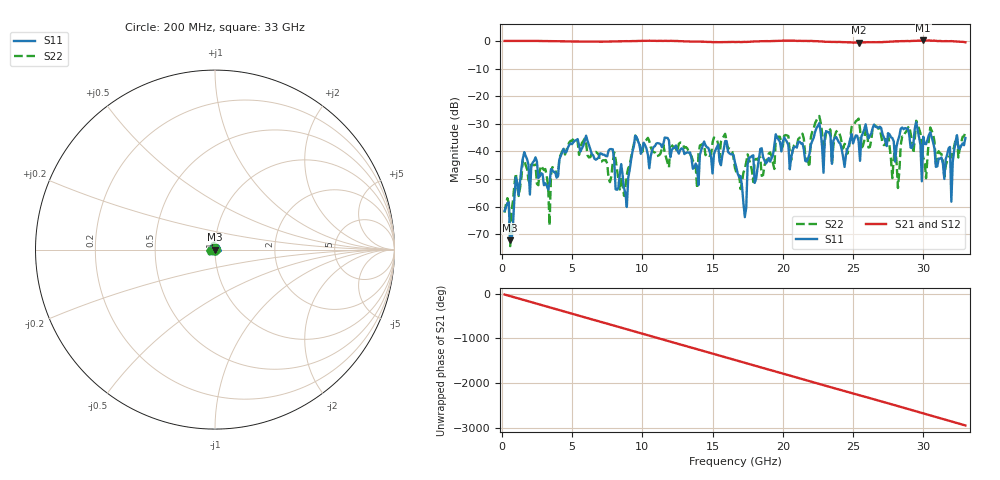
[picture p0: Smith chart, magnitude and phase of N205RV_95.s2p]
# GHZ S RI R 50
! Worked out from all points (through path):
!   329 points, 200 MHz to 33 GHz, reference 50 ohm
!   highest |S21| = 0.18 dB at 30 GHz (marker M1); lowest = -0.6 dB at 25.4 GHz (marker M2)
!   group delay of S21, straight-line fit = 248 ps
!   lowest |S11| = -72.2 dB at 600 MHz (marker M3), VSWR 1.00, Z = 50 + j0.019 ohm
!   |S11| at or under -10 dB: start of sweep to end of sweep
!   |S22| runs from -74.3 to -27.1 dB; largest |S21 - S12| = 0.0019
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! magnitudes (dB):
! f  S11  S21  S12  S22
! 200 MHz  -61.5  0.0  0.0  -62.1
! 600 MHz  -72.2  0.0  0.0  -74.3
! 1.6 GHz  -40.2  0.0  0.0  -42.8
! 3.1 GHz  -51.5  -0.1  -0.1  -46.4
! 3.4 GHz  -51.6  -0.1  -0.1  -66.8
! 3.6 GHz  -46.8  -0.1  -0.1  -45.7
! 5.7 GHz  -38.9  -0.2  -0.2  -37.0
! 8.9 GHz  -60.1  -0.1  -0.1  -48.4
! 9.5 GHz  -34.3  0.0  0.0  -34.2
! 11.2 GHz  -37.1  0.0  0.0  -41.4
! 16.6 GHz  -44.1  -0.4  -0.4  -46.0
! 17.3 GHz  -63.8  -0.3  -0.3  -46.3
! 17.6 GHz  -42.3  -0.3  -0.3  -42.8
! 22.1 GHz  -36.2  0.0  0.0  -32.8
! 25.4 GHz  -36.2  -0.6  -0.6  -28.1
! 27.6 GHz  -33.8  -0.3  -0.3  -38.2
! 29.5 GHz  -29.4  0.0  0.0  -28.9
! 29.9 GHz  -50.8  0.1  0.1  -40.7
! 30 GHz  -34.7  0.2  0.2  -42.1
! 31.9 GHz  -38.3  -0.1  -0.1  -41.7
! 32 GHz  -58.2  -0.1  -0.1  -42.2
! 33 GHz  -35.1  -0.5  -0.5  -32.8
